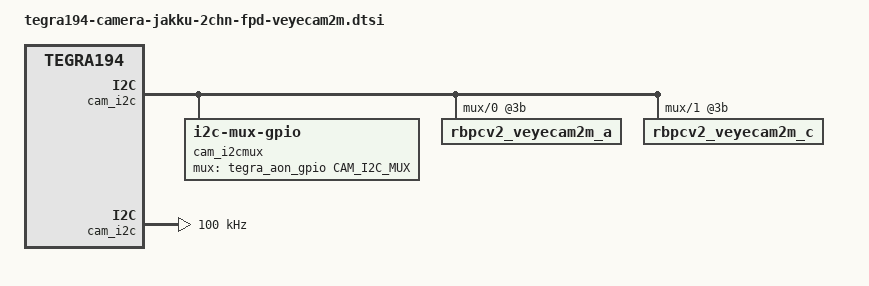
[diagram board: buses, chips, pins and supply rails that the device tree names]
/*
 * Copyright (c) 2018-2020, TIANJIN DATA IMAGING TECHNOLOGY CO.,LTD.  All rights reserved.
 *
 * This program is free software; you can redistribute it and/or modify
 * it under the terms of the GNU General Public License as published by
 * the Free Software Foundation; either version 2 of the License, or
 * (at your option) any later version.
 *
 * This program is distributed in the hope that it will be useful, but WITHOUT
 * ANY WARRANTY; without even the implied warranty of MERCHANTABILITY or
 * FITNESS FOR A PARTICULAR PURPOSE.  See the GNU General Public License for
 * more details.
 *
 * You should have received a copy of the GNU General Public License
 * along with this program.  If not, see <http://www.gnu.org/licenses/>.
 */

#include "tegra194-camera-2chn-fpd-veyecam2m-a00.dtsi"

//#define CAM0_PWDN	TEGRA194_MAIN_GPIO(P, 4)
//#define CAM1_PWDN	TEGRA194_MAIN_GPIO(P, 5)
#define CAM_I2C_MUX 	TEGRA194_AON_GPIO(CC, 3)

/ {
	cam_i2cmux{
		compatible = "i2c-mux-gpio";
		#address-cells = <1>;
		#size-cells = <0>;
		i2c-parent = <&cam_i2c>;
		mux-gpios = <&tegra_aon_gpio CAM_I2C_MUX GPIO_ACTIVE_HIGH>;
		i2c@0 {
			reg = <0>;
			#address-cells = <1>;
			#size-cells = <0>;
			rbpcv2_veyecam2m_a@3b {
				//reset-gpios = <&tegra_main_gpio CAM0_PWDN GPIO_ACTIVE_HIGH>;
			};
		};
		i2c@1 {
			reg = <1>;
			#address-cells = <1>;
			#size-cells = <0>;
			rbpcv2_veyecam2m_c@3b {
				//reset-gpios = <&tegra_main_gpio CAM1_PWDN GPIO_ACTIVE_HIGH>;
			};
		};
	};

	/*gpio@2200000 {
		camera-control-output-low {
			gpio-hog;
			output-low;
			gpios = <CAM0_PWDN 0 CAM1_PWDN 0>;
			label = "cam0-pwdn","cam1-pwdn";
		};
	};*/
};

//over-lay
&cam_i2c {
    clock-frequency = <100000>;
};
